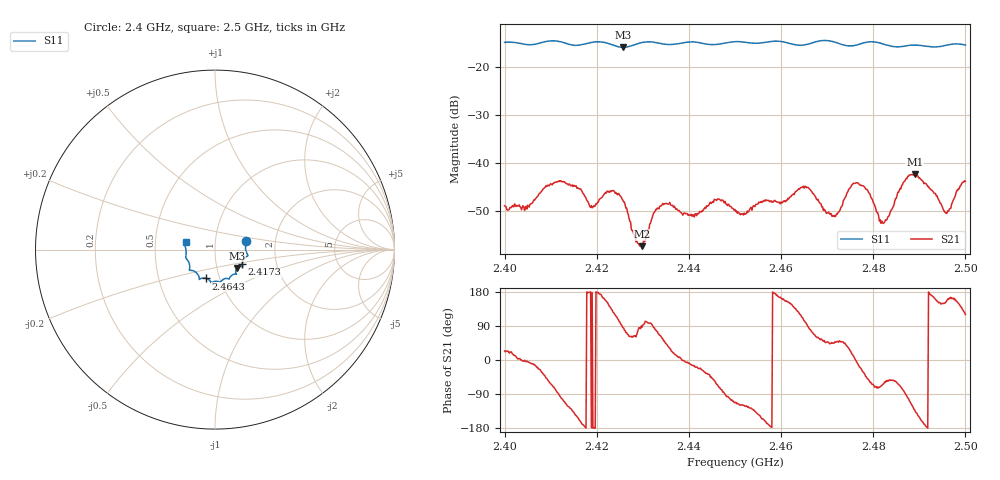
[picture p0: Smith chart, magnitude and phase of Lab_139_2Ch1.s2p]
# Hz S RI R 50
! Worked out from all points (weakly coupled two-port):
!   601 points, 2.4 GHz to 2.5 GHz, reference 50 ohm
!   highest |S21| = -42.25 dB at 2.489 GHz (marker M1); lowest = -57.2 dB at 2.4298 GHz (marker M2)
!   lowest |S11| = -15.9 dB at 2.4257 GHz (marker M3), VSWR 1.38, Z = 62.4 - j13.1 ohm
!   |S11| at or under -10 dB: start of sweep to end of sweep
!   S12 and S22 are empty: the file has one direction only
!   S11 on the Smith chart (normalised r, x): 2.4 GHz: 1.41, +0.15; 2.4173 GHz: 1.34, -0.23; 2.4643 GHz: 0.86, -0.28; 2.5 GHz: 0.72, +0.06
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2.4e9  0.1732 0.0498  0.0033 0.00148  0 0  0 0
2.404833e9  0.1701 0.0153  0.00334 -0.000189  0 0  0 0
2.411667e9  0.1813 -0.0357  0.000193 -0.00646  0 0  0 0
2.416667e9  0.1527 -0.0747  -0.0051 -0.00125  0 0  0 0
2.417333e9  0.1521 -0.0822  -0.0046 -0.000396  0 0  0 0
2.419e9  0.1535 -0.0949  -0.00345 0.000121  0 0  0 0
2.422667e9  0.1476 -0.0932  -0.00411 0.00307  0 0  0 0
2.425667e9  0.1225 -0.1025  0.000333 0.00412  0 0  0 0
2.429833e9  0.1177 -0.1354  7.9e-05 0.00138  0 0  0 0
2.433333e9  0.1127 -0.1366  0.0012 0.00319  0 0  0 0
2.441167e9  0.0774 -0.1645  0.00268 -0.000713  0 0  0 0
2.446167e9  0.0464 -0.1655  0.00179 -0.00384  0 0  0 0
2.45e9  0.0297 -0.181  -0.00124 -0.00307  0 0  0 0
2.464333e9  -0.05 -0.1604  -0.00256 0.00501  0 0  0 0
2.466667e9  -0.0762 -0.1601  0.00137 0.00489  0 0  0 0
2.4715e9  -0.0873 -0.16  0.00205 0.00202  0 0  0 0
2.476667e9  -0.1234 -0.1174  0.00616 -0.00109  0 0  0 0
2.481833e9  -0.1411 -0.1037  0.000975 -0.00232  0 0  0 0
2.483333e9  -0.1406 -0.0894  0.0016 -0.00231  0 0  0 0
2.489e9  -0.1623 -0.0463  -0.00513 -0.00576  0 0  0 0
2.495833e9  -0.1669 0.0183  -0.00271 0.00133  0 0  0 0
2.5e9  -0.1635 0.0418  -0.00327 0.00561  0 0  0 0
